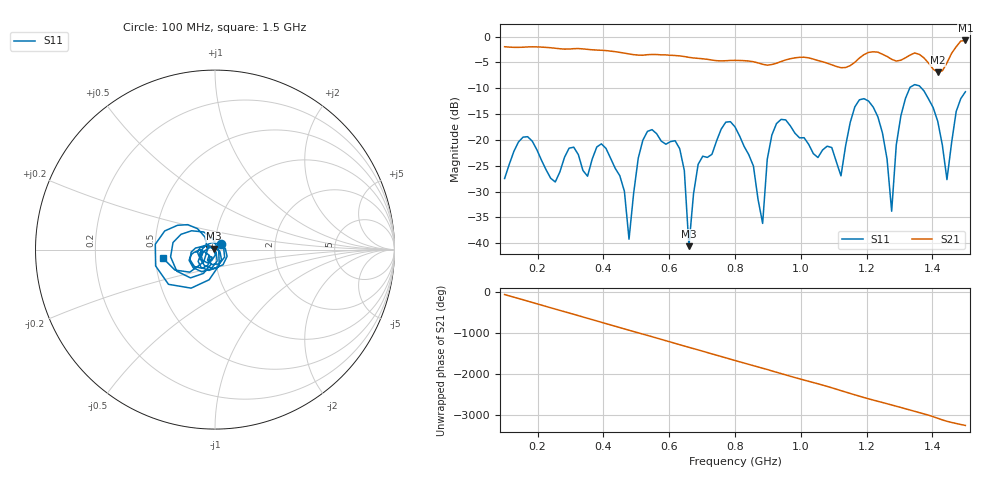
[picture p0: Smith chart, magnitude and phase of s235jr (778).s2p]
! NanoVNA-App
! Date: 2025-09-25 15:10:13
! Start: 100MHz Stop: 1,5GHz Points: 101
! S-Parameter data: F S11 S21 S12 S22
# Hz S RI R 50
!  Frequency  S11_Real  S11_Imag  S21_Real  S21_Imag  S12_Real  S12_Imag  S22_Real  S22_Imag
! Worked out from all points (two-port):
!   101 points, 100 MHz to 1.5 GHz, reference 50 ohm
!   highest |S21| = -0.75 dB at 1.5 GHz (marker M1); lowest = -6.9 dB at 1.416 GHz (marker M2)
!   |S21| within 3 dB of the highest: start of sweep to 632.9 MHz; 1.186 GHz to 1.259 GHz (72.38 MHz wide, 5.92 % of centre) (the widest 2 of 4)
!   lowest |S11| = -40.6 dB at 660 MHz (marker M3), VSWR 1.02, Z = 49.2 + j0.542 ohm
!   |S11| at or under -10 dB: start of sweep to 1.331 GHz; 1.367 GHz to end of sweep
!   S12 and S22 are empty: the file has one direction only
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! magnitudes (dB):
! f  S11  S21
! 100 MHz  -27.5  -2.0
! 156 MHz  -19.5  -2.1
! 338 MHz  -25.9  -2.4
! 408 MHz  -21.6  -2.7
! 478 MHz  -39.2  -3.4
! 520 MHz  -20.1  -3.6
! 576 MHz  -20.2  -3.5
! 632 MHz  -21.7  -3.7
! 660 MHz  -40.6  -4.0
! 688 MHz  -24.7  -4.2
! 800 MHz  -17.5  -4.6
! 884 MHz  -36.2  -5.4
! 926 MHz  -16.8  -5.2
! 1.038 GHz  -22.7  -4.4
! 1.122 GHz  -27.0  -6.0
! 1.206 GHz  -12.5  -3.1
! 1.276 GHz  -33.8  -4.4
! 1.29 GHz  -21.0  -4.7
! 1.332 GHz  -9.8  -3.6
! 1.416 GHz  -16.4  -6.9
! 1.444 GHz  -27.7  -5.1
! 1.5 GHz  -10.7  -0.7
